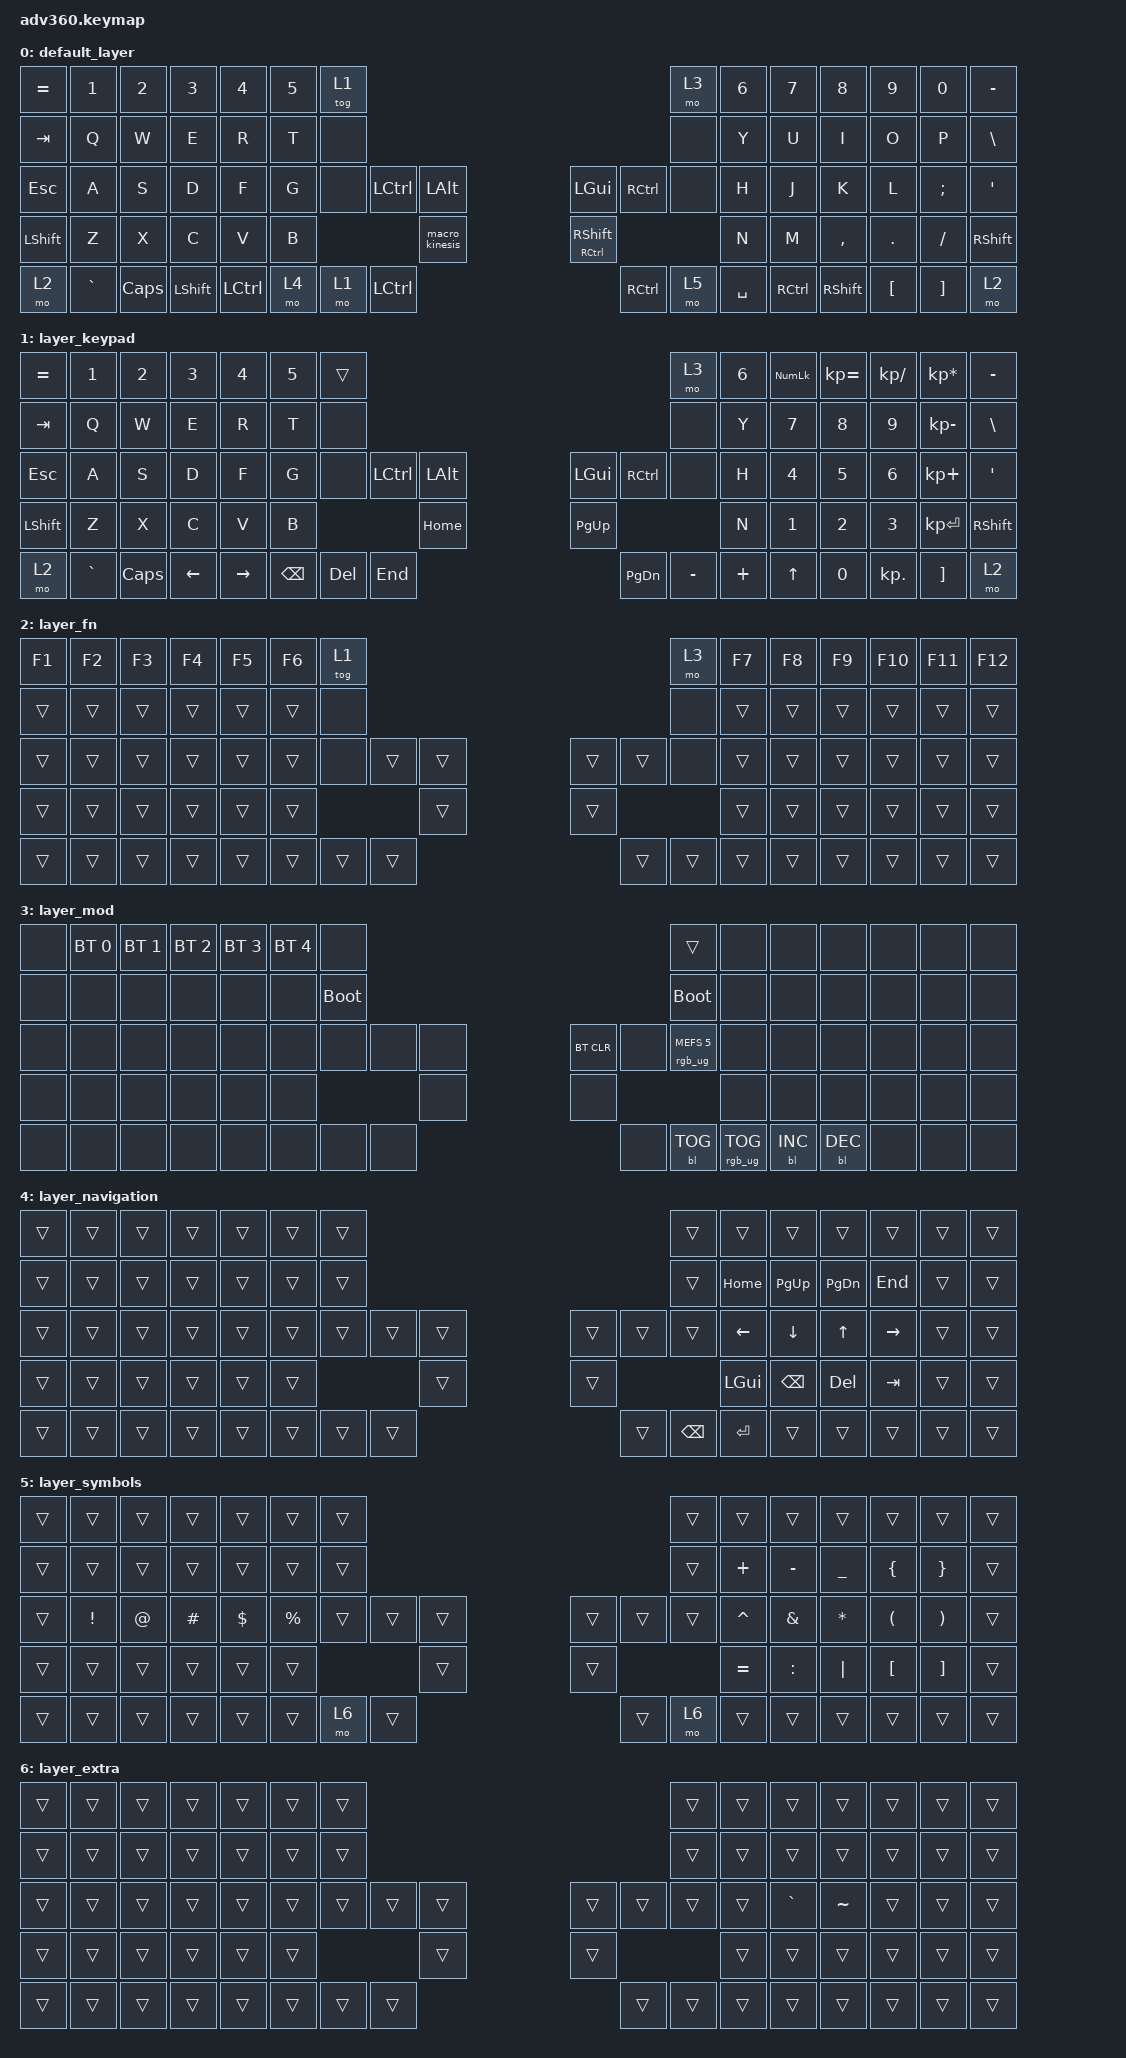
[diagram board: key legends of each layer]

/*
 * Copyright (c) 2020 The ZMK Contributors
 *
 * SPDX-License-Identifier: MIT
 */


/* THIS FILE WAS GENERATED!
 *
 * This file was generated automatically. You may or may not want to
 * edit it directly.
 */

#include <behaviors.dtsi>
#include <dt-bindings/zmk/keys.h>
#include <dt-bindings/zmk/bt.h>
#include <dt-bindings/zmk/rgb.h>
#include <dt-bindings/zmk/backlight.h>

/ {
  behaviors {
    #include "macros.dtsi"

    hm: homerow_mods {
        compatible = "zmk,behavior-hold-tap";
        label = "HOMEROW_MODS";
        #binding-cells = <2>;
        tapping-term-ms = <200>;
        quick_tap_ms = <175>;
        flavor = "tap-preferred";
        bindings = <&kp>, <&kp>;
    };
  };

    keymap {
        compatible = "zmk,keymap";


        default_layer {
            bindings = <
 &kp EQUAL     &kp N1    &kp N2          &kp N3            &kp N4  &kp N5            &tog 1                                                                                             &mo 3  &kp N6             &kp N7           &kp N8    &kp N9    &kp N0  &kp MINUS
   &kp TAB      &kp Q     &kp W           &kp E             &kp R   &kp T             &none                                                                                             &none   &kp Y              &kp U            &kp I     &kp O     &kp P   &kp BSLH
   &kp ESC      &kp A     &kp S           &kp D             &kp F   &kp G             &none  &kp LCTRL          &kp LALT                                       &kp LGUI  &kp RCTRL      &none   &kp H              &kp J            &kp K     &kp L  &kp SEMI    &kp SQT
 &kp LSHFT      &kp Z     &kp X           &kp C             &kp V   &kp B                                 &macro_kinesis                  &mt RIGHT_CONTROL RIGHT_SHIFT                         &kp N              &kp M        &kp COMMA   &kp DOT  &kp FSLH  &kp RSHFT
     &mo 2  &kp GRAVE  &kp CAPS  &kp LEFT_SHIFT  &kp LEFT_CONTROL                     &mo 4      &mo 1  &kp LEFT_CONTROL                              &kp RIGHT_CONTROL      &mo 5  &kp SPACE          &kp RIGHT_CONTROL  &kp RIGHT_SHIFT  &kp LBKT  &kp RBKT      &mo 2
            >;
        };

        layer_keypad {
            bindings = <
 &kp EQUAL     &kp N1    &kp N2    &kp N3     &kp N4  &kp N5              &trans                                                                &mo 3  &kp N6  &kp KP_NUM  &kp KP_EQUAL  &kp KP_DIVIDE  &kp KP_MULTIPLY  &kp MINUS
   &kp TAB      &kp Q     &kp W     &kp E      &kp R   &kp T               &none                                                                &none   &kp Y      &kp N7        &kp N8         &kp N9     &kp KP_MINUS   &kp BSLH
   &kp ESC      &kp A     &kp S     &kp D      &kp F   &kp G               &none  &kp LCTRL  &kp LALT                   &kp LGUI  &kp RCTRL     &none   &kp H      &kp N4        &kp N5         &kp N6      &kp KP_PLUS    &kp SQT
 &kp LSHFT      &kp Z     &kp X     &kp C      &kp V   &kp B                                 &kp HOME                  &kp PG_UP                        &kp N      &kp N1        &kp N2         &kp N3     &kp KP_ENTER  &kp RSHFT
     &mo 2  &kp GRAVE  &kp CAPS  &kp LEFT  &kp RIGHT                    &kp BSPC    &kp DEL   &kp END                  &kp PG_DN  &kp MINUS  &kp PLUS              &kp UP        &kp N0     &kp KP_DOT         &kp RBKT      &mo 2
            >;
        };

        layer_fn {
            bindings = <
 &kp F1  &kp F2  &kp F3  &kp F4  &kp F5  &kp F6            &tog 1                                                   &mo 3  &kp F7  &kp F8  &kp F9  &kp F10  &kp F11  &kp F12
 &trans  &trans  &trans  &trans  &trans  &trans             &none                                                   &none  &trans  &trans  &trans   &trans   &trans   &trans
 &trans  &trans  &trans  &trans  &trans  &trans             &none  &trans  &trans                  &trans  &trans   &none  &trans  &trans  &trans   &trans   &trans   &trans
 &trans  &trans  &trans  &trans  &trans  &trans                            &trans                  &trans                  &trans  &trans  &trans   &trans   &trans   &trans
 &trans  &trans  &trans  &trans  &trans                    &trans  &trans  &trans                  &trans  &trans  &trans          &trans  &trans   &trans   &trans   &trans
            >;
        };

        layer_mod {
            bindings = <
  &none  &bt BT_SEL 0  &bt BT_SEL 1  &bt BT_SEL 2  &bt BT_SEL 3  &bt BT_SEL 4                  &none                                                                          &trans   &none       &none       &none   &none   &none   &none
  &none         &none         &none         &none         &none         &none            &bootloader                                                                     &bootloader   &none       &none       &none   &none   &none   &none
  &none         &none         &none         &none         &none         &none                  &none   &none   &none                  &bt BT_CLR       &none  &rgb_ug RGB_MEFS_CMD 5   &none       &none       &none   &none   &none   &none
  &none         &none         &none         &none         &none         &none                                  &none                       &none                                       &none       &none       &none   &none   &none   &none
  &none         &none         &none         &none         &none                                &none   &none   &none                       &none  &bl BL_TOG         &rgb_ug RGB_TOG          &bl BL_INC  &bl BL_DEC   &none   &none   &none
            >;
        };

        layer_navigation {
            bindings = <
 &trans  &trans  &trans  &trans  &trans  &trans            &trans                                                            &trans          &trans          &trans        &trans           &trans  &trans  &trans
 &trans  &trans  &trans  &trans  &trans  &trans            &trans                                                            &trans        &kp HOME       &kp PG_UP     &kp PG_DN          &kp END  &trans  &trans
 &trans  &trans  &trans  &trans  &trans  &trans            &trans  &trans  &trans                  &trans         &trans     &trans  &kp LEFT_ARROW  &kp DOWN_ARROW  &kp UP_ARROW  &kp RIGHT_ARROW  &trans  &trans
 &trans  &trans  &trans  &trans  &trans  &trans                            &trans                  &trans                                  &kp LGUI   &kp BACKSPACE    &kp DELETE          &kp TAB  &trans  &trans
 &trans  &trans  &trans  &trans  &trans                    &trans  &trans  &trans                  &trans  &kp BACKSPACE  &kp ENTER                          &trans        &trans           &trans  &trans  &trans
            >;
        };

        layer_symbols {
            bindings = <
 &trans           &trans       &trans    &trans      &trans       &trans            &trans                                                  &trans     &trans         &trans          &trans                &trans                 &trans  &trans
 &trans           &trans       &trans    &trans      &trans       &trans            &trans                                                  &trans   &kp PLUS      &kp MINUS  &kp UNDERSCORE        &kp LEFT_BRACE        &kp RIGHT_BRACE  &trans
 &trans  &kp EXCLAMATION  &kp AT_SIGN  &kp HASH  &kp DOLLAR  &kp PERCENT            &trans  &trans  &trans                  &trans  &trans  &trans  &kp CARET  &kp AMPERSAND    &kp ASTERISK  &kp LEFT_PARENTHESIS  &kp RIGHT_PARENTHESIS  &trans
 &trans           &trans       &trans    &trans      &trans       &trans                            &trans                  &trans                  &kp EQUAL      &kp COLON        &kp PIPE      &kp LEFT_BRACKET      &kp RIGHT_BRACKET  &trans
 &trans           &trans       &trans    &trans      &trans                         &trans   &mo 6  &trans                  &trans   &mo 6  &trans                    &trans          &trans                &trans                 &trans  &trans
            >;
        };

        layer_extra {
            bindings = <
 &trans  &trans  &trans  &trans  &trans  &trans            &trans                                                  &trans  &trans     &trans     &trans  &trans  &trans  &trans
 &trans  &trans  &trans  &trans  &trans  &trans            &trans                                                  &trans  &trans     &trans     &trans  &trans  &trans  &trans
 &trans  &trans  &trans  &trans  &trans  &trans            &trans  &trans  &trans                  &trans  &trans  &trans  &trans  &kp GRAVE  &kp TILDE  &trans  &trans  &trans
 &trans  &trans  &trans  &trans  &trans  &trans                            &trans                  &trans                  &trans     &trans     &trans  &trans  &trans  &trans
 &trans  &trans  &trans  &trans  &trans                    &trans  &trans  &trans                  &trans  &trans  &trans             &trans     &trans  &trans  &trans  &trans
            >;
        };

    };
};
